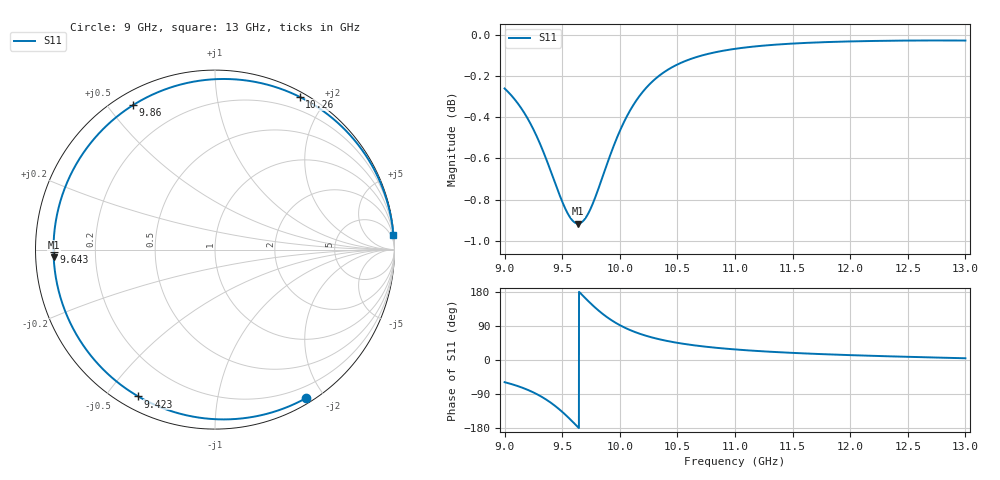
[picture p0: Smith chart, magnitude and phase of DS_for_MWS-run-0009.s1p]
! TOUCHSTONE file generated by CST DESIGN STUDIO
! Date and time: Tue Feb  4 18:20:24 2025
! Project name: C:\Work\MatlabApps\UnitCellOptimizationMatlab\CST\unitcell.cst
! Tree item: Tasks\Sweep1\SPara1\S-Parameters
! Header version: 2024
! Port assignment regex: !\s*Touchstone port\s*([0-9]+)\s*=\s*(CST MWS port|CST DES external port|CST DES block port)\s*(.+)\s* \(\"(.*)\"\)(\s*mode\s*([0-9]+))?.*
! Touchstone port assignment:
! Touchstone port 1 = CST DES external port 1 ("")
# GHz S MA R 50
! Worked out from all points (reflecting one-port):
!   4001 points, 9 GHz to 13 GHz, reference 50 ohm
!   lowest |S11| = -0.9 dB at 9.637 GHz (marker M1), VSWR 18.97, Z = 2.64 - j1.2 ohm
!   phase of S11 starts at -59 deg and turns -297 deg over the sweep
!   S11 on the Smith chart (normalised r, x): 9 GHz: 0.06, -1.78; 9.423 GHz: 0.05, -0.60; 9.643 GHz: 0.05, -0.01; 9.86 GHz: 0.05, +0.58; 10.26 GHz: 0.05, +1.70; 13 GHz: 1, +25
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9  0.9705 -58.5
9.106  0.9632 -68.0
9.213  0.9529 -80.4
9.275  0.9454 -89.3
9.329  0.9378 -98.4
9.378  0.9303 -107.8
9.423  0.923 -117.6
9.462  0.9168 -126.9
9.5  0.911 -136.8
9.573  0.9026 -157.6
9.637  0.8999 -177.3
9.643  0.8999 -179.1
9.688  0.9016 166.9
9.736  0.9061 152.5
9.799  0.9151 134.8
9.86  0.9254 119.6
9.926  0.9365 105.4
10  0.9477 92.0
10.125  0.9623 74.6
10.261  0.973 61.0
10.373  0.979 52.7
10.5  0.9837 45.3
10.719  0.9887 36.0
11  0.9923 27.9
11.5  0.9952 18.8
12  0.9964 12.8
12.5  0.9969 8.4
13  0.9969 4.6
